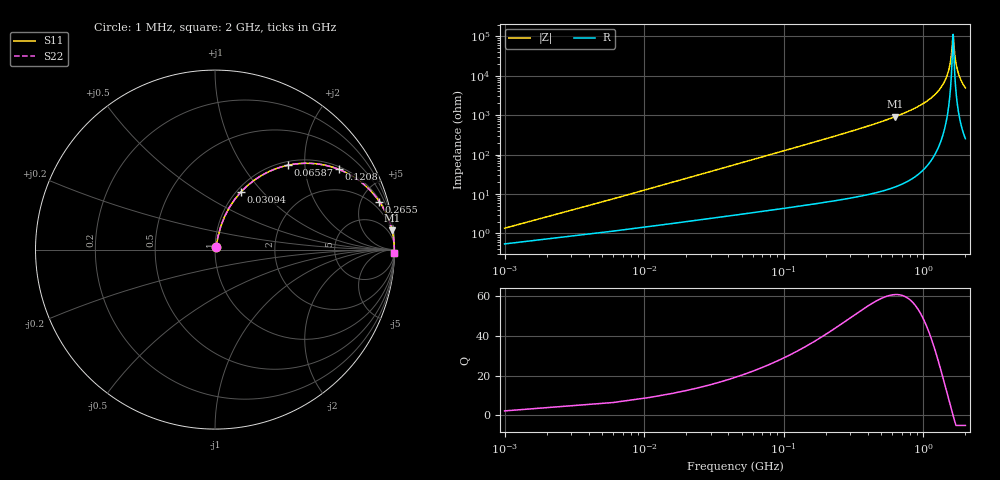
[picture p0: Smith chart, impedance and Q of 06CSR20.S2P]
! Coilcraft 0603CS-R20 Chip Inductor
! 1 August 2002
# MHZ S MA R 50
!Freq  MagS11  AngS11  MagS21  AngS21  MagS12  AngS12  MagS22  AngS22
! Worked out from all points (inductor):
!   402 points, 1 MHz to 2 GHz, reference 50 ohm
!   read as one part in series: L = 198 nH near 10.98 MHz
!   highest Q = 60.6 at 629.7 MHz (marker M1), where L = 233 nH
!   self-resonance near 1.628 GHz
!   S11 on the Smith chart (normalised r, x): 1 MHz: 1.01, +0.02; 30.94 MHz: 1.05, +0.77; 65.87 MHz: 1.07, +1.64; 120.8 MHz: 1.10, +3.02; 265.5 MHz: 1.15, +6.78; 2 GHz: open
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1  0.0135 65.7  0.9945 -0.7  0.9945 -0.7  0.0135 65.7
15.97  0.1924 73.8  0.9642 -11.0  0.9642 -11.0  0.1924 73.8
30.94  0.3525 65.8  0.9137 -20.6  0.9137 -20.6  0.3525 65.8
65.87  0.6219 49.1  0.7569 -38.4  0.7569 -38.4  0.6219 49.1
120.76  0.8221 32.9  0.544 -55.3  0.544 -55.3  0.8221 32.9
180.64  0.9069 23.5  0.3985 -65.0  0.3985 -65.0  0.9069 23.5
265.47  0.9537 16.3  0.2811 -72.4  0.2811 -72.4  0.9537 16.3
335.33  0.9705 12.9  0.2228 -76.0  0.2228 -76.0  0.9705 12.9
629.74  0.9924 6.2  0.1078 -82.9  0.1078 -82.9  0.9924 6.2
669.66  0.9934 5.7  0.09917 -83.4  0.09917 -83.4  0.9934 5.7
1003.99  0.9977 2.8  0.04967 -86.0  0.04967 -86.0  0.9977 2.8
1338.32  0.9989 1.1  0.01969 -86.3  0.01969 -86.3  0.9989 1.1
1453.09  0.9991 0.7  0.01151 -85.0  0.01151 -85.0  0.9991 0.7
1532.93  0.9991 0.4  0.00626 -81.6  0.00626 -81.6  0.9991 0.4
1582.83  0.9991 0.2  0.00317 -73.7  0.00317 -73.7  0.9991 0.2
1627.74  0.9991 0.0  0.0009379 -18.1  0.0009379 -18.1  0.9991 0.0
1642.71  0.9991 -0.0  0.001082 34.2  0.001082 34.2  0.9991 -0.0
1667.66  0.9991 -0.1  0.002277 66.6  0.002277 66.6  0.9991 -0.1
1712.57  0.9991 -0.3  0.004795 78.8  0.004795 78.8  0.9991 -0.3
1777.44  0.999 -0.5  0.008424 83.2  0.008424 83.2  0.999 -0.5
1872.25  0.9989 -0.8  0.01355 85.1  0.01355 85.1  0.9989 -0.8
2000  0.9988 -1.2  0.02012 85.9  0.02012 85.9  0.9988 -1.2
